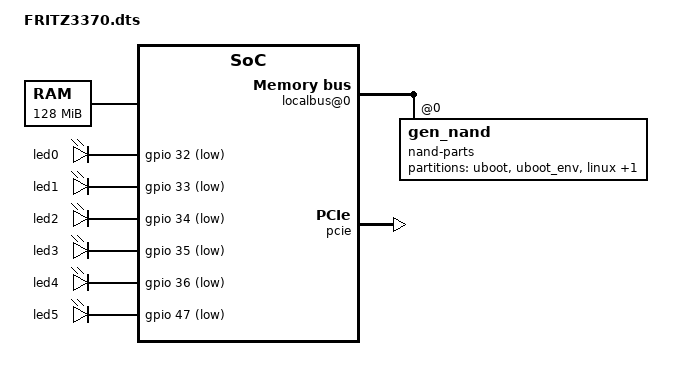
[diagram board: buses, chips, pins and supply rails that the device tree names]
/dts-v1/;


/include/ "vr9.dtsi"

/ {
	chosen {
		bootargs = "console=ttyLTQ0,115200 init=/etc/preinit";
	};

	memory@0 {
		reg = <0x0 0x8000000>;
	};
	
	fpi@10000000 {
		#address-cells = <1>;
		#size-cells = <1>;
		compatible = "lantiq,fpi", "simple-bus";
		ranges = <0x0 0x10000000 0xEEFFFFF>;
		reg = <0x10000000 0xEF00000>;

		localbus@0 {
			#address-cells = <2>;
			#size-cells = <1>;
			compatible = "lantiq,localbus", "simple-bus";
			ranges = <0 0 0x4000000 0x3ffffff>; /* addrsel1 */ 

			nand-parts@0 {
				compatible = "gen_nand", "lantiq,nand-xway";
				bank-width = <2>;
				reg = <0 0x0 0x2000000>;
				#address-cells = <1>;
				#size-cells = <1>;

				partition@0 {
					label = "uboot";
					reg = <0x00000 0x10000>; /* 64 KB */
				};

				partition@10000 {
					label = "uboot_env";
					reg = <0x10000 0x10000>; /* 64 KB */
				};

				partition@20000 {
					label = "linux";
					reg = <0x20000 0x3d0000>;
				};

				partition@3f0000 {
					label = "boardconfig";
					reg = <0x3f0000 0x10000>; /* 256 KB */
				};
			};
		};

		gpio: pinmux@E100B10 {
			compatible = "lantiq,pinctrl-xr9";
			pinctrl-names = "default";
			pinctrl-0 = <&state_default>;
			
			#gpio-cells = <2>;
			gpio-controller;
			reg = <0xE100B10 0xA0>;

			state_default: pinmux {
				nand {
					lantiq,groups = "nand cle", "nand ale",
							"nand rd", "nand rdy";
					lantiq,function = "ebu";
				};
				conf_out {
					lantiq,pins = "io24", "io13", /* nand cle and ale */
							"io49"; /* nand rd */
					lantiq,open-drain;
					lantiq,pull = <0>;
				};
				conf_in {
					lantiq,pins = "io48"; /* nand rdy */
					lantiq,pull = <2>;
				};
			};
		};

		pcie {
			compatible = "lantiq,pcie-xway";
		};
	};

	gpio-leds {
		compatible = "gpio-leds";
		led0 {
			label = "led0";
			gpios = <&gpio 32 1>;
			default-state = "on";
		};
		led1 {
			label = "led1";
			gpios = <&gpio 33 1>;
		};
		led2 {
			label = "led2";
			gpios = <&gpio 34 1>;
		};
		led3 {
			label = "led3";
			gpios = <&gpio 35 1>;
			default-state = "on";
		};
		led4 {
			label = "led4";
			gpios = <&gpio 36 1>;
			default-state = "on";
		};
		led5 {
			label = "led5";
			gpios = <&gpio 47 1>;
			default-state = "on";
		};
	};
};
